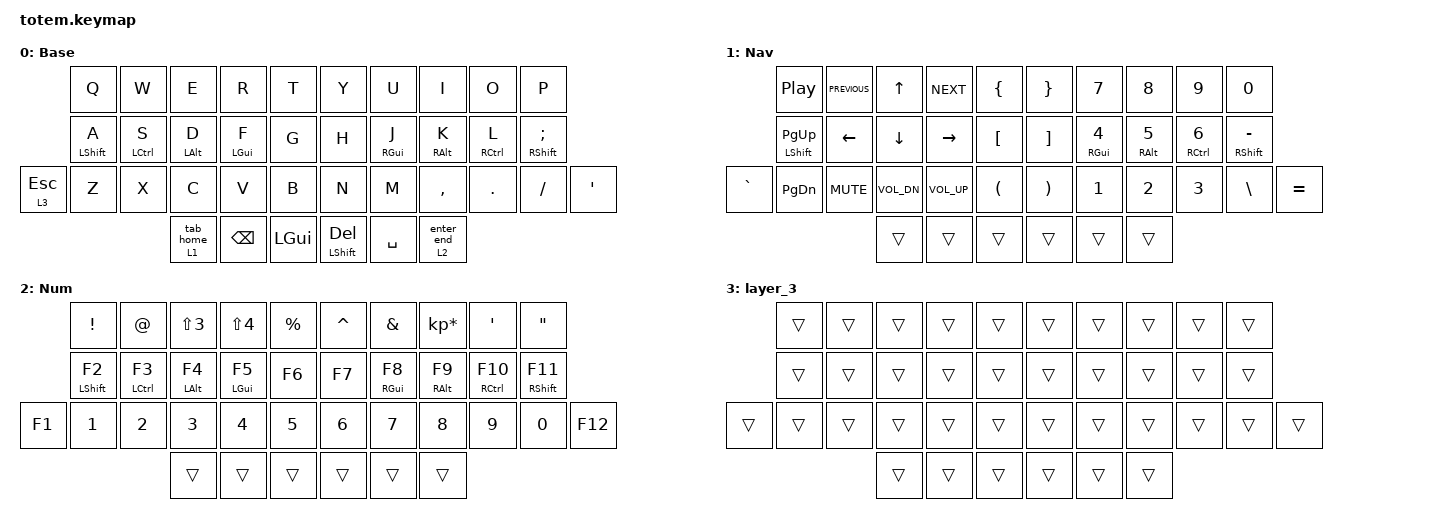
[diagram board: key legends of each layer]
//
//                                                        ▀▀▀▀▀     ▀▀▀▀▀          ▀▀█▀▀
//                                                        ▄▀▀▀▄  ▄  ▄▀▀▀▄  ▄  ▄▀▀▀▄  █  ▄▀▀▀▄
//                                                        █   █  █  █   █  █  █   █  █  █   █
//                                                         ▀▀▀   █   ▀▀▀   █   ▀▀▀   ▀   ▀▀▀
//                                                               █      ▄▄▄█▄▄▄    █   █  
//                                                               ▀      █  █  █     █▄█
//                                                             ▀▀▀▀▀    █  █  █      ▀
//                                                                      ▀  ▀  ▀
//
// ▄▄▄▄▄▄▄▄▄▄▄▄▄▄▄▄▄▄▄▄▄▄▄▄▄▄▄▄▄▄▄▄▄▄▄▄▄▄▄▄▄▄▄▄▄▄▄▄▄▄▄▄▄▄▄▄▄▄▄▄▄▄▄▄▄▄▄▄▄▄▄▄▄▄▄▄▄▄▄▄▄▄▄▄▄▄▄▄▄▄▄▄▄▄▄▄▄▄▄▄▄▄▄▄▄▄▄▄▄▄▄▄▄▄▄▄▄▄▄▄▄▄▄▄▄▄▄▄▄▄▄▄▄▄▄▄▄▄▄▄▄▄▄▄▄▄▄▄▄

#include <behaviors.dtsi>
#include <dt-bindings/zmk/keys.h>

#define Base        0
#define Nav         1
#define Sym         2
#define Fun         3
#define Game        4
#define Gameplus    5

&mt {
    quick-tap-ms = <100>;
    global-quick-tap;
    flavor = "tap-preferred";
    tapping-term-ms = <170>;
};

&lt {
    tapping-term-ms = <240>;
    flavor = "balanced";
    quick-tap-ms = <150>;
};

/ {
    behaviors {
        hm: homerow_mods {
            compatible = "zmk,behavior-hold-tap";
            label = "HOMEROW_MODS";
            #binding-cells = <2>;
            flavor = "tap-preferred";
            tapping-term-ms = <200>;
            quick-tap-ms = <125>;
            global-quick-tap;
            bindings = <&kp>, <&kp>;
        };

        tab_home: tab_home {
            compatible = "zmk,behavior-tap-dance";
            label = "TAB_HOME";
            #binding-cells = <0>;
            bindings = <&kp TAB>, <&kp HOME>;

            tapping-term-ms = <300>;
        };

        tab_layer: tab_layer {
            compatible = "zmk,behavior-hold-tap";
            label = "TAB_LAYER";
            #binding-cells = <2>;
            flavor = "tap-preferred";
            tapping-term-ms = <200>;
            quick-tap-ms = <150>;
            bindings = <&mo>, <&tab_home>;
        };

        enter_end: enter_end {
            compatible = "zmk,behavior-tap-dance";
            label = "ENTER_END";
            #binding-cells = <0>;
            bindings = <&kp ENTER>, <&kp END>;

            tapping-term-ms = <300>;
        };

        enter_layer: enter_layer {
            compatible = "zmk,behavior-hold-tap";
            label = "ENTER_LAYER";
            #binding-cells = <2>;
            flavor = "tap-preferred";
            tapping-term-ms = <200>;
            quick-tap-ms = <150>;
            bindings = <&mo>, <&enter_end>;
        };
    };

    combos {
        compatible = "zmk,combos";

        capslock {
            bindings = <&kp CAPSLOCK>;
            key-positions = <19 10>;
            layers = <0>;
        };
    };

    keymap {
        compatible = "zmk,keymap";

        Base {
            display-name = "Base";
            bindings = <
              &kp Q             &kp W               &kp E           &kp R           &kp T           &kp Y                  &kp U            &kp I             &kp O                &kp P
              &hm LEFT_SHIFT A  &hm LEFT_CONTROL S  &hm LEFT_ALT D  &hm LEFT_GUI F  &kp G           &kp H                  &hm RIGHT_GUI J  &hm RIGHT_ALT K   &hm RIGHT_CONTROL L  &hm RIGHT_SHIFT SEMICOLON
&lt 3 ESCAPE  &kp Z             &kp X               &kp C           &kp V           &kp B           &kp N                  &kp M            &kp COMMA         &kp DOT              &kp SLASH                  &kp APOSTROPHE
                                                    &tab_layer 1 0  &kp BACKSPACE   &kp LEFT_GUI    &mt LEFT_SHIFT DELETE  &kp SPACE        &enter_layer 2 0
            >;
        };

        Nav {
            display-name = "Nav";
            bindings = <
           &kp C_PLAY_PAUSE   &kp C_PREVIOUS  &kp UP_ARROW  &kp C_NEXT       &kp LBRC    &kp RBRC  &kp NUMBER_7            &kp NUMBER_8       &kp NUMBER_9        &kp NUMBER_0
           &hm LSHFT PAGE_UP  &kp LEFT        &kp DOWN      &kp RIGHT        &kp LBKT    &kp RBKT  &hm RIGHT_GUI NUMBER_4  &hm RALT NUMBER_5  &hm RCTRL NUMBER_6  &hm RSHIFT MINUS
&kp GRAVE  &kp PAGE_DOWN      &kp K_MUTE      &kp C_VOL_DN  &kp C_VOLUME_UP  &kp LPAR    &kp RPAR  &kp NUMBER_1            &kp NUMBER_2       &kp NUMBER_3        &kp BACKSLASH     &kp EQUAL
                                              &trans        &trans           &trans      &trans    &trans                  &trans
            >;
        };

        Num {
            display-name = "Num";
            bindings = <
        &kp EXCL           &kp AT               &kp LS(NUMBER_3)  &kp LS(NUMBER_4)  &kp PERCENT    &kp CARET     &kp AMPERSAND  &kp KP_ASTERISK  &kp SQT        &kp DQT
        &hm LEFT_SHIFT F2  &hm LEFT_CONTROL F3  &hm LEFT_ALT F4   &hm LEFT_GUI F5   &kp F6         &kp F7        &hm RGUI F8    &hm RALT F9      &hm RCTRL F10  &hm RSHIFT F11
&kp F1  &kp NUMBER_1       &kp NUMBER_2         &kp NUMBER_3      &kp NUMBER_4      &kp N5         &kp NUMBER_6  &kp N7         &kp N8           &kp N9         &kp N0          &kp F12
                                                &trans            &trans            &trans         &trans        &trans         &trans
            >;
        };

        layer_3 {
            bindings = <
        &trans  &trans  &trans  &trans  &trans    &trans  &trans  &trans  &trans  &trans
        &trans  &trans  &trans  &trans  &trans    &trans  &trans  &trans  &trans  &trans
&trans  &trans  &trans  &trans  &trans  &trans    &trans  &trans  &trans  &trans  &trans  &trans
                        &trans  &trans  &trans    &trans  &trans  &trans
            >;
        };
    };
};
